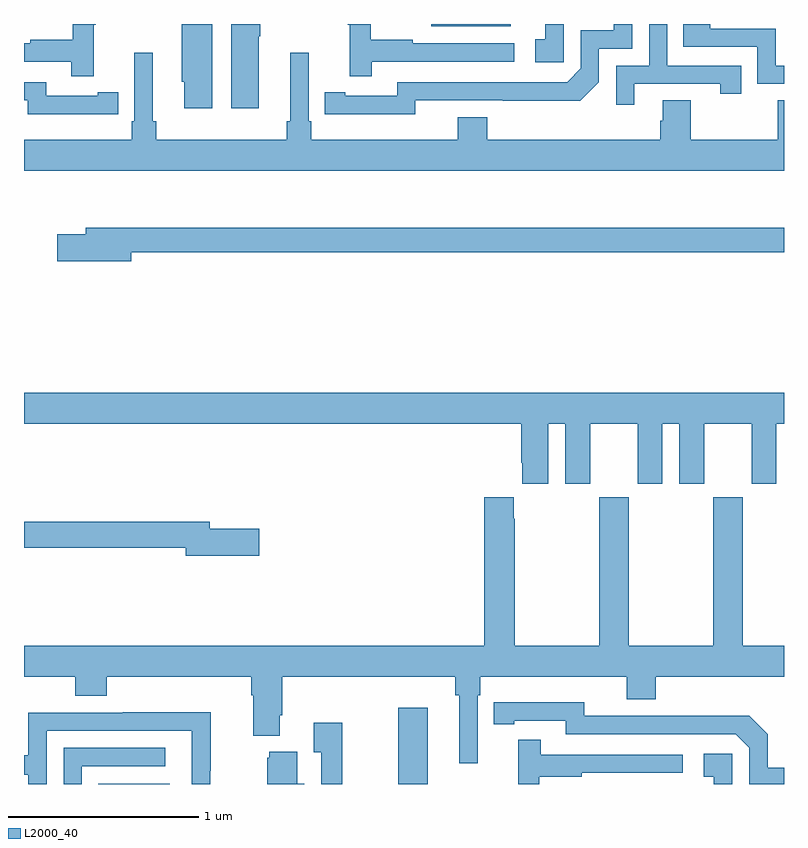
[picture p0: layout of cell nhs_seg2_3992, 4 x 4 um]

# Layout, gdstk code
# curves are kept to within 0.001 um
import gdstk
lib = gdstk.Library(unit=1e-6, precision=1e-09)
def R(c, l, rs):  # rectangles x0, y0, x1, y1
    for r in rs: c.add(gdstk.rectangle(r[:2], r[2:], *l))
def P(c, l, *ps):  # polygons
    for p in ps: c.add(gdstk.Polygon(p, *l))
L2000_40 = (2000, 40)

nhs_seg2_3992 = lib.new_cell('nhs_seg2_3992')
R(nhs_seg2_3992, L2000_40, [(325.39,585.8,325.768,585.802), (326.971,585.8,327.124,586.201), (327.143,589.787,327.562,589.8)])
P(nhs_seg2_3992, L2000_40, [(326.236,589.735),(326.244,589.735),(326.244,589.8),(326.09,589.8),(326.09,589.356),(326.236,589.356)],
  [(327.06,589.398),(327.928,589.397),(328.026,589.494),(328.026,589.671),(328.2,589.671),(328.2,589.8),(328.103,589.8),(328.103,589.767),(327.93,589.767),(327.93,589.566),(327.858,589.494),(326.964,589.494),(326.964,589.422),(326.692,589.422),(326.692,589.442),(326.584,589.442),(326.584,589.326),(327.06,589.325)],
  [(326.831,589.602),(327.58,589.602),(327.58,589.698),(327.047,589.698),(327.047,589.718),(326.824,589.718),(326.824,589.8),(326.703,589.8),(326.703,589.795),(326.714,589.795),(326.714,589.524),(326.831,589.524)],
  [(325.367,589.795),(325.378,589.795),(325.378,589.8),(325.257,589.8),(325.257,589.718),(325.033,589.718),(325.033,589.698),(325,589.698),(325,589.602),(325.249,589.602),(325.249,589.524),(325.367,589.524)],
  [(327.84,589.8),(327.743,589.8),(327.743,589.719),(327.69,589.719),(327.69,589.599),(327.84,589.599)],
  [(328.213,589.485),(328.664,589.485),(328.664,589.434),(328.775,589.434),(328.775,589.581),(328.386,589.581),(328.386,589.8),(328.29,589.8),(328.29,589.581),(328.116,589.581),(328.116,589.374),(328.213,589.374)],
  [(329,589.581),(328.956,589.581),(328.956,589.776),(328.611,589.776),(328.611,589.8),(328.471,589.8),(328.471,589.68),(328.86,589.68),(328.86,589.485),(329,589.485)],
  [(325.99,589.8),(325.829,589.8),(325.829,589.497),(325.844,589.497),(325.844,589.356),(325.99,589.356)],
  [(329,589.4),(328.966,589.4),(328.966,589.192),(328.509,589.192),(328.509,589.4),(328.361,589.4),(328.361,589.29),(328.349,589.29),(328.349,589.192),(327.437,589.192),(327.437,589.309),(327.284,589.309),(327.284,589.192),(326.513,589.192),(326.513,589.288),(326.499,589.288),(326.499,589.648),(326.402,589.648),(326.402,589.288),(326.383,589.288),(326.383,589.192),(325.697,589.192),(325.697,589.288),(325.678,589.288),(325.678,589.648),(325.581,589.648),(325.581,589.288),(325.568,589.288),(325.568,589.192),(325,589.192),(325,589.028),(329,589.028)],
  [(325.388,589.326),(325.496,589.326),(325.496,589.442),(325.388,589.442),(325.388,589.422),(325.116,589.422),(325.116,589.494),(325,589.494),(325,589.398),(325.02,589.398),(325.02,589.325),(325.388,589.325)],
  [(325.564,588.598),(329,588.598),(329,588.727),(325.325,588.727),(325.325,588.693),(325.176,588.693),(325.176,588.551),(325.564,588.551)],
  [(327.76,587.696),(327.848,587.696),(327.848,587.379),(327.979,587.379),(327.979,587.696),(328.229,587.696),(328.229,587.379),(328.36,587.379),(328.36,587.696),(328.448,587.696),(328.448,587.379),(328.579,587.379),(328.579,587.696),(328.829,587.696),(328.829,587.379),(328.96,587.379),(328.96,587.696),(329,587.696),(329,587.86),(325,587.86),(325,587.696),(327.617,587.696),(327.617,587.491),(327.623,587.491),(327.623,587.379),(327.76,587.379)],
  [(327.387,586.268),(327.401,586.268),(327.401,586.364),(328.172,586.364),(328.172,586.247),(328.325,586.247),(328.325,586.364),(329,586.364),(329,586.528),(328.782,586.528),(328.782,587.308),(328.627,587.308),(328.627,586.528),(328.182,586.528),(328.182,587.308),(328.027,587.308),(328.027,586.528),(327.582,586.528),(327.582,587.195),(327.577,587.195),(327.577,587.308),(327.422,587.308),(327.422,586.528),(325,586.528),(325,586.364),(325.271,586.364),(325.271,586.265),(325.436,586.265),(325.436,586.364),(326.195,586.364),(326.195,586.268),(326.207,586.268),(326.207,586.055),(326.347,586.055),(326.347,586.162),(326.36,586.162),(326.36,586.364),(327.271,586.364),(327.271,586.268),(327.29,586.268),(327.29,585.909),(327.387,585.909)],
  [(326.239,587.144),(325.978,587.144),(325.978,587.18),(325,587.18),(325,587.044),(325.85,587.044),(325.85,587.002),(326.239,587.002)],
  [(329,585.885),(328.914,585.885),(328.914,586.062),(328.816,586.16),(328.408,586.16),(328.408,586.158),(327.948,586.158),(327.948,586.231),(327.472,586.23),(327.472,586.114),(327.58,586.114),(327.58,586.134),(327.852,586.134),(327.852,586.062),(328.746,586.062),(328.818,585.99),(328.818,585.8),(329,585.8)],
  [(325.119,586.08),(325.884,586.08),(325.884,585.8),(325.98,585.8),(325.98,585.871),(325.983,585.871),(325.983,586.178),(325.519,586.178),(325.519,586.176),(325.023,586.176),(325.023,585.951),(325,585.951),(325,585.85),(325.023,585.85),(325.023,585.8),(325.119,585.8)],
  [(326.674,586.123),(326.525,586.123),(326.525,585.967),(326.565,585.967),(326.565,585.8),(326.674,585.8)],
  [(327.712,585.838),(327.935,585.838),(327.935,585.858),(328.468,585.858),(328.468,585.954),(327.719,585.954),(327.719,586.033),(327.602,586.033),(327.602,585.8),(327.712,585.8)],
  [(325.305,585.894),(325.744,585.894),(325.744,585.99),(325.209,585.99),(325.209,585.8),(325.305,585.8)],
  [(326.476,585.802),(326.437,585.802),(326.437,585.97),(326.291,585.97),(326.291,585.939),(326.279,585.939),(326.279,585.8),(326.476,585.8)],
  [(328.728,585.958),(328.578,585.958),(328.578,585.837),(328.631,585.837),(328.631,585.8),(328.728,585.8)])

lib.write_gds('nhs_seg2_3992.gds')
